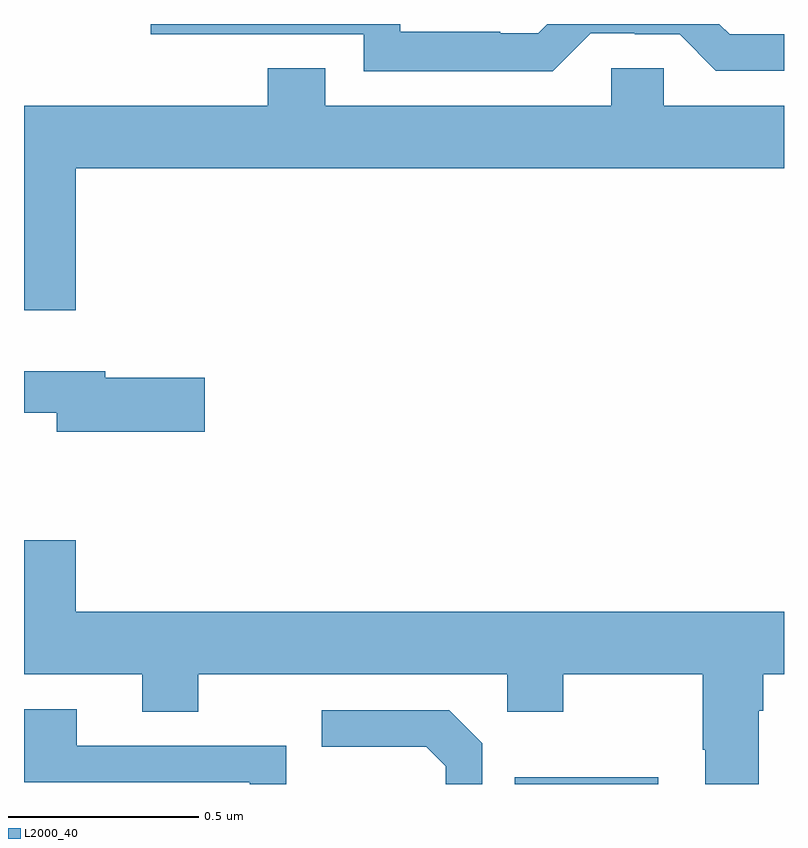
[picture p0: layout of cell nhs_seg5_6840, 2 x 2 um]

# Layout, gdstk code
import gdstk
lib = gdstk.Library(unit=1e-6, precision=1e-09)
def R(c, l, rs):  # rectangles x0, y0, x1, y1
    for r in rs: c.add(gdstk.rectangle(r[:2], r[2:], *l))
def P(c, l, *ps):  # polygons
    for p in ps: c.add(gdstk.Polygon(p, *l))
L2000_40 = (2000, 40)

nhs_seg5_6840 = lib.new_cell('nhs_seg5_6840')
R(nhs_seg5_6840, L2000_40, [(202.291,861.799,202.669,861.817)])
P(nhs_seg5_6840, L2000_40, [(202.491,863.775),(202.607,863.775),(202.607,863.772),(202.725,863.772),(202.821,863.676),(203,863.676),(203,863.772),(202.857,863.772),(202.83,863.799),(202.377,863.799),(202.353,863.775),(202.253,863.775),(202.253,863.779),(201.99,863.779),(201.99,863.799),(201.333,863.799),(201.333,863.772),(201.894,863.772),(201.894,863.675),(202.391,863.675)],
  [(201.136,863.42),(203,863.42),(203,863.584),(202.683,863.584),(202.683,863.682),(202.545,863.682),(202.545,863.584),(201.793,863.584),(201.793,863.683),(201.641,863.683),(201.641,863.584),(201,863.584),(201,863.046),(201.136,863.046)],
  [(201.475,862.868),(201.214,862.868),(201.214,862.885),(201,862.885),(201,862.776),(201.086,862.776),(201.086,862.726),(201.475,862.726)],
  [(202.933,861.992),(202.946,861.992),(202.946,862.088),(203,862.088),(203,862.252),(201.136,862.252),(201.136,862.441),(201,862.441),(201,862.088),(201.311,862.088),(201.311,861.989),(201.459,861.989),(201.459,862.088),(202.272,862.088),(202.272,861.989),(202.419,861.989),(202.419,862.088),(202.786,862.088),(202.786,861.889),(202.793,861.889),(202.793,861.799),(202.933,861.799)],
  [(201.69,861.9),(201.139,861.9),(201.139,861.996),(201,861.996),(201,861.804),(201.594,861.804),(201.594,861.799),(201.69,861.799)],
  [(202.206,861.906),(202.119,861.993),(201.783,861.993),(201.783,861.897),(202.059,861.897),(202.11,861.846),(202.11,861.799),(202.206,861.799)])

lib.write_gds('nhs_seg5_6840.gds')
